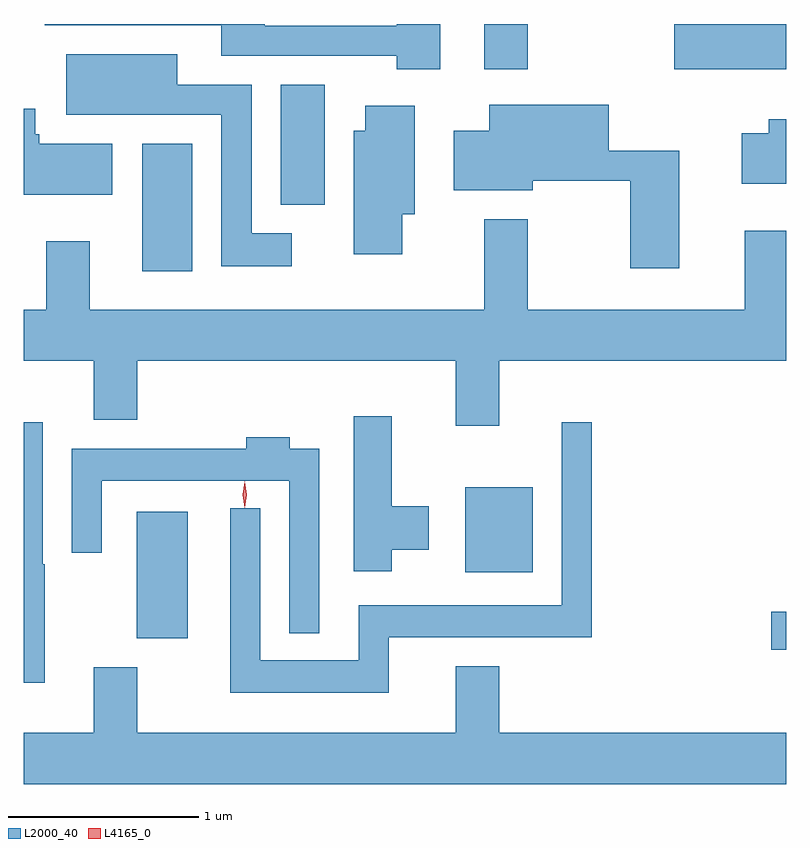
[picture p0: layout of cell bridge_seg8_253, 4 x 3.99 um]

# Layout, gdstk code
import gdstk
lib = gdstk.Library(unit=1e-6, precision=1e-09)
def R(c, l, rs):  # rectangles x0, y0, x1, y1
    for r in rs: c.add(gdstk.rectangle(r[:2], r[2:], *l))
def P(c, l, *ps):  # polygons
    for p in ps: c.add(gdstk.Polygon(p, *l))
L2000_40 = (2000, 40)
L4165_0 = (4165, 0)

bridge_seg8_253 = lib.new_cell('bridge_seg8_253')
R(bridge_seg8_253, L2000_40, [(1083.656,1852.661,1083.734,1852.859), (1080.326,1852.721,1080.594,1853.384), (1082.051,1853.066,1082.404,1853.514), (1080.356,1854.646,1080.619,1855.314), (1081.081,1854.996,1081.314,1855.624), (1082.151,1855.706,1082.379,1855.943), (1083.146,1855.706,1083.734,1855.943)])
P(bridge_seg8_253, L2000_40, [(1081.919,1855.943),(1081.691,1855.943),(1081.691,1855.934),(1080.999,1855.934),(1080.999,1855.943),(1079.843,1855.943),(1079.843,1855.936),(1080.771,1855.936),(1080.771,1855.776),(1081.691,1855.776),(1081.691,1855.706),(1081.919,1855.706)],
  [(1081.139,1854.844),(1080.929,1854.844),(1080.929,1855.624),(1080.539,1855.624),(1080.539,1855.784),(1079.956,1855.784),(1079.956,1855.466),(1080.771,1855.466),(1080.771,1854.671),(1081.139,1854.671)],
  [(1083.174,1855.279),(1082.804,1855.279),(1082.804,1855.519),(1082.176,1855.519),(1082.176,1855.384),(1081.991,1855.384),(1081.991,1855.071),(1082.404,1855.071),(1082.404,1855.121),(1082.916,1855.121),(1082.916,1854.661),(1083.174,1854.661)],
  [(1081.719,1854.946),(1081.784,1854.946),(1081.784,1855.514),(1081.526,1855.514),(1081.526,1855.384),(1081.466,1855.384),(1081.466,1854.736),(1081.719,1854.736)],
  [(1080.199,1855.314),(1079.814,1855.314),(1079.814,1855.364),(1079.794,1855.364),(1079.794,1855.499),(1079.734,1855.499),(1079.734,1855.046),(1080.199,1855.046)],
  [(1083.734,1855.444),(1083.641,1855.444),(1083.641,1855.369),(1083.501,1855.369),(1083.501,1855.106),(1083.734,1855.106)],
  [(1082.229,1854.176),(1083.734,1854.176),(1083.734,1854.859),(1083.516,1854.859),(1083.516,1854.444),(1082.379,1854.444),(1082.379,1854.919),(1082.151,1854.919),(1082.151,1854.444),(1080.079,1854.444),(1080.079,1854.804),(1079.851,1854.804),(1079.851,1854.444),(1079.734,1854.444),(1079.734,1854.176),(1080.101,1854.176),(1080.101,1853.866),(1080.329,1853.866),(1080.329,1854.176),(1082.001,1854.176),(1082.001,1853.836),(1082.229,1853.836)],
  [(1081.664,1853.186),(1081.859,1853.186),(1081.859,1853.414),(1081.664,1853.414),(1081.664,1853.884),(1081.466,1853.884),(1081.466,1853.071),(1081.664,1853.071)],
  [(1079.844,1853.11),(1079.834,1853.11),(1079.834,1853.853),(1079.734,1853.853),(1079.734,1852.486),(1079.844,1852.486)],
  [(1081.649,1852.726),(1082.714,1852.726),(1082.714,1853.853),(1082.556,1853.853),(1082.556,1852.894),(1081.491,1852.894),(1081.491,1852.604),(1080.974,1852.604),(1080.974,1853.403),(1080.816,1853.403),(1080.816,1852.436),(1081.649,1852.436)],
  [(1081.284,1853.714),(1081.129,1853.714),(1081.129,1853.774),(1080.901,1853.774),(1080.901,1853.714),(1079.986,1853.714),(1079.986,1853.168),(1080.144,1853.168),(1080.144,1853.546),(1081.126,1853.546),(1081.126,1852.748),(1081.284,1852.748)],
  [(1083.734,1852.224),(1082.229,1852.224),(1082.229,1852.574),(1082.001,1852.574),(1082.001,1852.224),(1080.329,1852.224),(1080.329,1852.569),(1080.101,1852.569),(1080.101,1852.224),(1079.734,1852.224),(1079.734,1851.956),(1083.734,1851.956)])
P(bridge_seg8_253, L4165_0, [(1080.893,1853.404),(1080.884,1853.473),(1080.893,1853.542),(1080.894,1853.543),(1080.894,1853.542),(1080.904,1853.473),(1080.894,1853.404),(1080.894,1853.404)],
  [(1080.893,1853.407),(1080.884,1853.474),(1080.893,1853.54),(1080.894,1853.54),(1080.894,1853.54),(1080.904,1853.474),(1080.894,1853.407),(1080.894,1853.407)])

lib.write_gds('bridge_seg8_253.gds')
